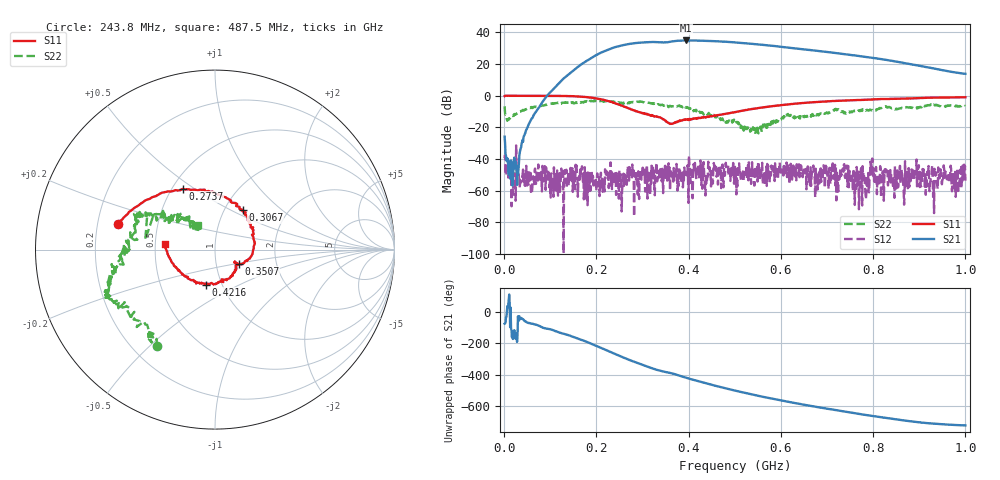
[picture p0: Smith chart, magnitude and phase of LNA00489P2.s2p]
! Created with skrf 1.9.0 (http://scikit-rf.org).
# Hz S RI R 50.0
!freq ReS11 ImS11 ReS21 ImS21 ReS12 ImS12 ReS22 ImS22
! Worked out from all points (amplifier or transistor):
!   1001 points, 1 MHz to 1 GHz, reference 50 ohm
!   highest |S21| = 35.0 dB at 394.6 MHz (marker M1)
!   |S21| within 3 dB of that: 256.9 MHz to 568.6 MHz (311.7 MHz wide, 75.5 % of centre)
!   unconditionally stable (mu >= 1): 169.7 MHz to 177.6 MHz; 191.9 MHz to 277.6 MHz; 277.9 MHz to end of sweep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
!   at 166.8 MHz: K = 0.80, MSG = 32.3 dB, |S12| = -44.9 dB
!   at 500.5 MHz: K = 1.79, MAG = 34.2 dB, |S12| = -44.9 dB
!   at 1 GHz: K = 7.26, MAG = 22.1 dB, |S12| = -53.6 dB
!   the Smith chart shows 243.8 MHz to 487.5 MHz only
!   S11 on the Smith chart (normalised r, x): 243.8 MHz: 0.29, +0.12; 273.7 MHz: 0.57, +0.45; 306.7 MHz: 1.21, +0.58; 350.6 MHz: 1.29, -0.21; 421.6 MHz: 0.84, -0.34; 487.5 MHz: 0.56, +0.04
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1000000  0.975 -0.00544  0.014 -0.0493  -0.00498 -0.00956  0.3614 0.2923
1.08892e8  0.5275 -0.8468  -0.8363 -1.54  -0.00287 -0.00035  0.4225 -0.3764
1.67833e8  -0.2196 -0.9084  -9.967 -0.4439  -0.00187 0.00411  0.0235 -0.6255
2.09791e8  -0.6646 -0.4032  -15.4 16.98  -0.00357 0.000994  -0.211 -0.6582
2.26774e8  -0.6647 -0.1085  -10.02 27.38  0.000992 0.000692  -0.2905 -0.5816
2.43757e8  -0.5379 0.1439  1.144 35.44  0.00336 -0.00138  -0.3239 -0.5393
2.73727e8  -0.1808 0.338  27.48 34.21  -0.00279 0.00111  -0.5376 -0.3266
3.06694e8  0.1535 0.2217  47.39 12.54  0.000922 0.00441  -0.5842 -0.1554
3.34666e8  0.2126 -0.00116  48.38 -10.34  -0.00275 0.00011  -0.5404 -0.047
3.5065e8  0.1319 -0.0789  44.75 -19.21  0.00199 -0.000831  -0.4959 0.0497
3.71629e8  0.1185 -0.0827  42.23 -33.42  -0.00109 0.00297  -0.4251 0.1557
3.94606e8  0.076 -0.162  28.4 -48.2  0.00304 0.00303  -0.3865 0.2074
4.21579e8  -0.0507 -0.1952  7.352 -54.68  0.00191 0.00536  -0.2392 0.1712
4.5055e8  -0.1833 -0.1389  -13.93 -52.1  0.000886 0.00395  -0.1692 0.1644
4.87513e8  -0.2801 0.0293  -33.69 -36.94  0.00352 0.00319  -0.094 0.137
5.005e8  -0.2844 0.1012  -38.22 -30.25  0.000238 -0.00567  -0.1282 0.0923
5.4046e8  -0.2312 0.3133  -42.33 -8.699  0.00503 0.000488  -0.0929 0.0148
5.88412e8  -0.0431 0.4804  -35.08 11.52  0.00416 -0.000419  -0.1143 -0.0807
6.67333e8  0.3332 0.5239  -13.15 23.88  0.0012 -0.0034  -0.2409 -0.0581
7.53247e8  0.6313 0.3544  4.354 18.85  -0.00155 -0.000766  -0.3146 0.00249
8.34166e8  0.7838 0.1224  9.956 8.618  0.00159 0.00186  -0.4454 0.0303
1e9  0.7987 -0.414  4.923 -0.3758  -0.000441 -0.00204  -0.3192 0.3976
